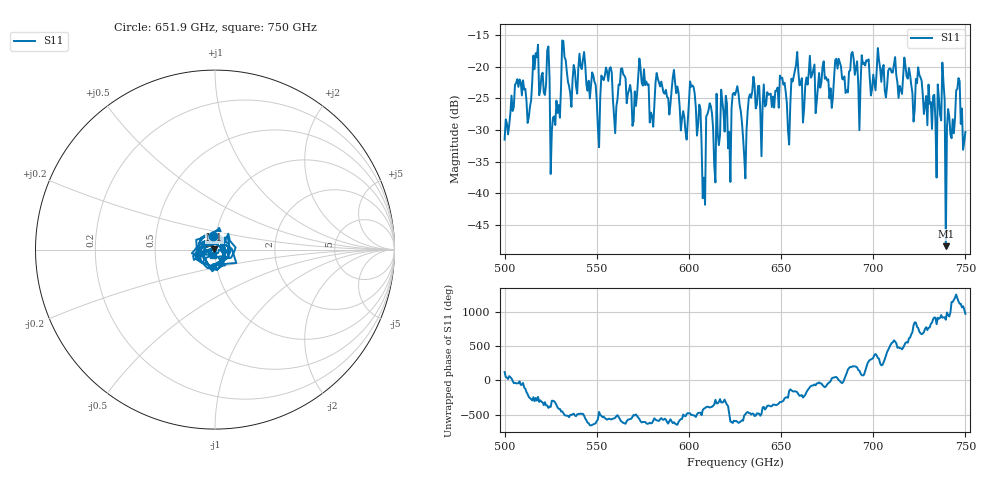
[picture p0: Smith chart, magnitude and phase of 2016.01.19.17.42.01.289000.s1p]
!Created with skrf (http://scikit-rf.org).
# GHz S RI R 50.0
!freq ReS11 ImS11
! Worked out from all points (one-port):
!   401 points, 500 GHz to 750 GHz, reference 50 ohm
!   lowest |S11| = -48.4 dB at 739.4 GHz (marker M1), VSWR 1.01, Z = 49.6 + j0.111 ohm
!   |S11| at or under -10 dB: start of sweep to end of sweep
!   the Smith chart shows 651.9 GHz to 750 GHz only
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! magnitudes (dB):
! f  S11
! 500 GHz  -31.5
! 506.9 GHz  -22.0
! 513.1 GHz  -28.0
! 516.9 GHz  -17.9
! 523.1 GHz  -17.4
! 526.2 GHz  -28.0
! 531.2 GHz  -15.9
! 541.9 GHz  -20.4
! 550.6 GHz  -29.7
! 562.5 GHz  -22.9
! 593.8 GHz  -23.1
! 598.1 GHz  -30.2
! 601.9 GHz  -23.0
! 608.1 GHz  -37.5
! 610.6 GHz  -26.9
! 615 GHz  -24.3
! 625 GHz  -24.5
! 630 GHz  -34.2
! 634.4 GHz  -23.9
! 653.8 GHz  -30.0
! 656.2 GHz  -22.4
! 687.5 GHz  -20.6
! 718.8 GHz  -21.9
! 733.1 GHz  -24.4
! 737.5 GHz  -19.4
! 739.4 GHz  -48.4
! 745.6 GHz  -23.5
! 750 GHz  -30.3
